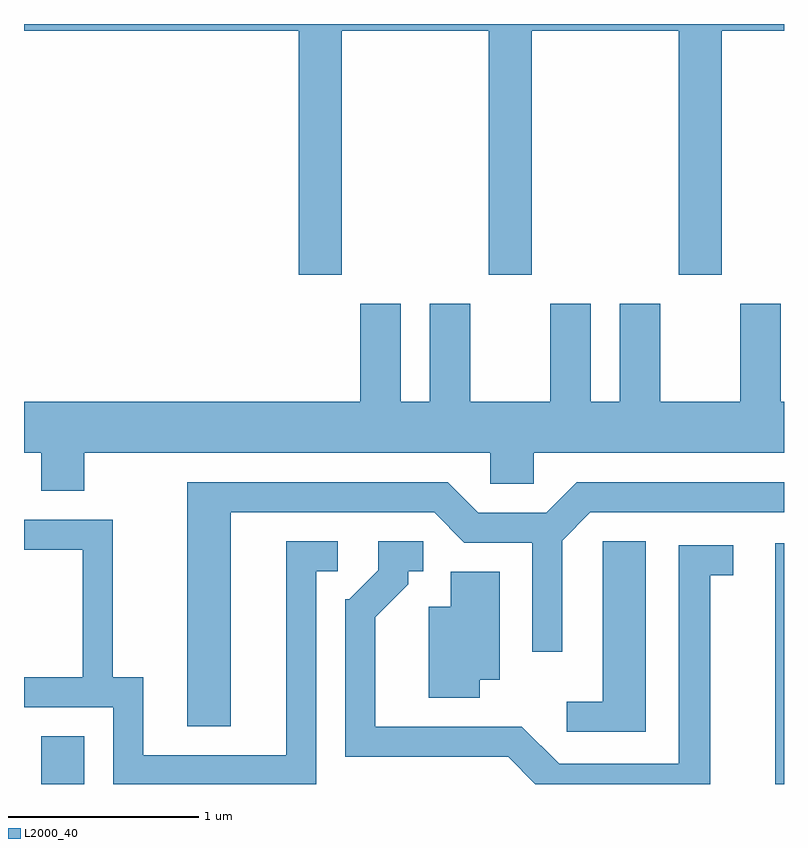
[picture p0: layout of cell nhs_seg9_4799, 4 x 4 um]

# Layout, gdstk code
import gdstk
lib = gdstk.Library(unit=1e-6, precision=1e-09)
def R(c, l, rs):  # rectangles x0, y0, x1, y1
    for r in rs: c.add(gdstk.rectangle(r[:2], r[2:], *l))
def P(c, l, *ps):  # polygons
    for p in ps: c.add(gdstk.Polygon(p, *l))
L2000_40 = (2000, 40)

nhs_seg9_4799 = lib.new_cell('nhs_seg9_4799')
R(nhs_seg9_4799, L2000_40, [(325.701,2074.432,325.929,2074.684), (329.566,2074.432,329.611,2075.699)])
P(nhs_seg9_4799, L2000_40, [(327.284,2078.396),(328.056,2078.396),(328.056,2077.111),(328.284,2077.111),(328.284,2078.396),(329.056,2078.396),(329.056,2077.111),(329.284,2077.111),(329.284,2078.396),(329.611,2078.396),(329.611,2078.432),(325.611,2078.432),(325.611,2078.396),(327.056,2078.396),(327.056,2077.111),(327.284,2077.111)],
  [(325.929,2076.176),(328.066,2076.176),(328.066,2076.011),(328.294,2076.011),(328.294,2076.176),(329.611,2076.176),(329.611,2076.444),(329.594,2076.444),(329.594,2076.959),(329.381,2076.959),(329.381,2076.444),(328.959,2076.444),(328.959,2076.959),(328.746,2076.959),(328.746,2076.444),(328.594,2076.444),(328.594,2076.959),(328.381,2076.959),(328.381,2076.444),(327.959,2076.444),(327.959,2076.959),(327.746,2076.959),(327.746,2076.444),(327.594,2076.444),(327.594,2076.959),(327.381,2076.959),(327.381,2076.444),(325.611,2076.444),(325.611,2076.176),(325.701,2076.176),(325.701,2075.976),(325.929,2075.976)],
  [(326.699,2075.861),(327.769,2075.861),(327.929,2075.701),(328.286,2075.701),(328.286,2075.128),(328.444,2075.128),(328.444,2075.713),(328.592,2075.861),(329.611,2075.861),(329.611,2076.019),(328.519,2076.019),(328.359,2075.859),(328.002,2075.859),(327.842,2076.019),(326.471,2076.019),(326.471,2074.736),(326.699,2074.736)],
  [(327.149,2075.551),(327.263,2075.551),(327.263,2075.709),(326.991,2075.709),(326.991,2074.584),(326.239,2074.584),(326.239,2074.994),(326.079,2074.994),(326.079,2075.824),(325.611,2075.824),(325.611,2075.666),(325.921,2075.666),(325.921,2074.994),(325.611,2074.994),(325.611,2074.836),(326.081,2074.836),(326.081,2074.432),(327.149,2074.432)],
  [(329.224,2075.531),(329.343,2075.531),(329.343,2075.689),(329.056,2075.689),(329.056,2074.539),(328.427,2074.539),(328.232,2074.734),(327.459,2074.734),(327.459,2075.309),(327.634,2075.483),(327.634,2075.551),(327.713,2075.551),(327.713,2075.709),(327.476,2075.709),(327.476,2075.557),(327.324,2075.404),(327.301,2075.404),(327.301,2074.576),(328.159,2074.576),(328.303,2074.432),(329.224,2074.432)],
  [(328.884,2075.709),(328.656,2075.709),(328.656,2074.864),(328.468,2074.864),(328.468,2074.706),(328.884,2074.706)],
  [(328.009,2074.981),(328.114,2074.981),(328.114,2075.549),(327.856,2075.549),(327.856,2075.364),(327.741,2075.364),(327.741,2074.886),(328.009,2074.886)])

lib.write_gds('nhs_seg9_4799.gds')
